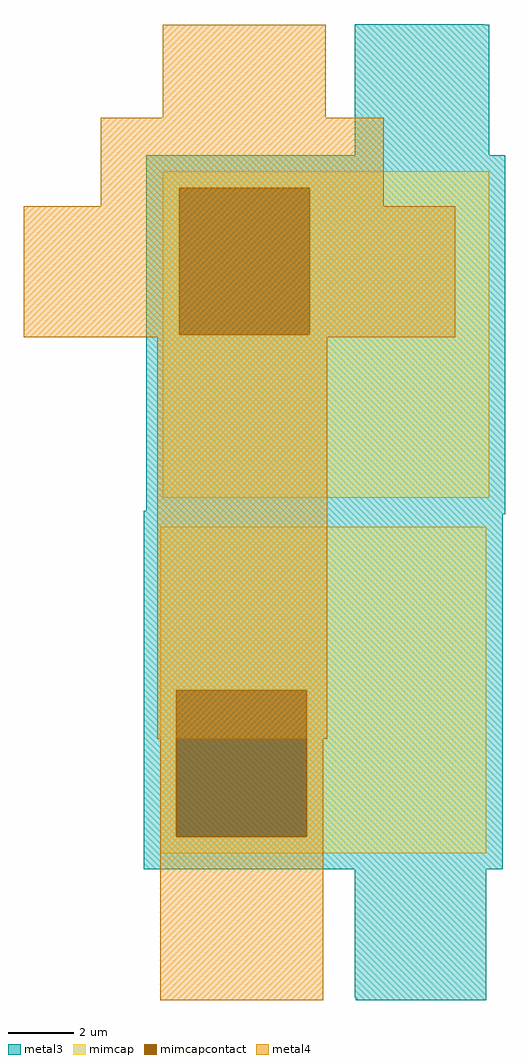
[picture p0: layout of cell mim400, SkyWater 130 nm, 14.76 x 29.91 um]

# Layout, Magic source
magic
tech sky130A
<< metal3 >>
rect 646 8 1044 2991
<< metal4 >>
rect -132 2432 735 2703
rect -368 2031 955 2432
rect 42 800 562 2031
use mimcaptut200b  mimcaptut200b_0
transform 1 0 1058 0 -1 2139
box -1050 -850 50 650
use mimcaptut200b  mimcaptut200b_1
transform 1 0 1050 0 1 850
box -1050 -850 50 650
<< end >>

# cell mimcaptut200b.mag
magic
tech sky130A
<< metal3 >>
rect -1050 -450 50 650
rect -400 -850 0 -450
<< mimcap >>
rect -1000 100 0 600
rect -1000 -350 -950 100
rect -550 -350 0 100
rect -1000 -400 0 -350
<< mimcapcontact >>
rect -950 -350 -550 100
<< metal4 >>
rect -1000 100 -500 150
rect -1000 -350 -950 100
rect -550 -350 -500 100
rect -1000 -850 -500 -350
<< labels >>
rlabel metal4 -750 -850 -750 -850 5 top
rlabel metal3 -200 -850 -200 -850 5 bot
<< end >>
